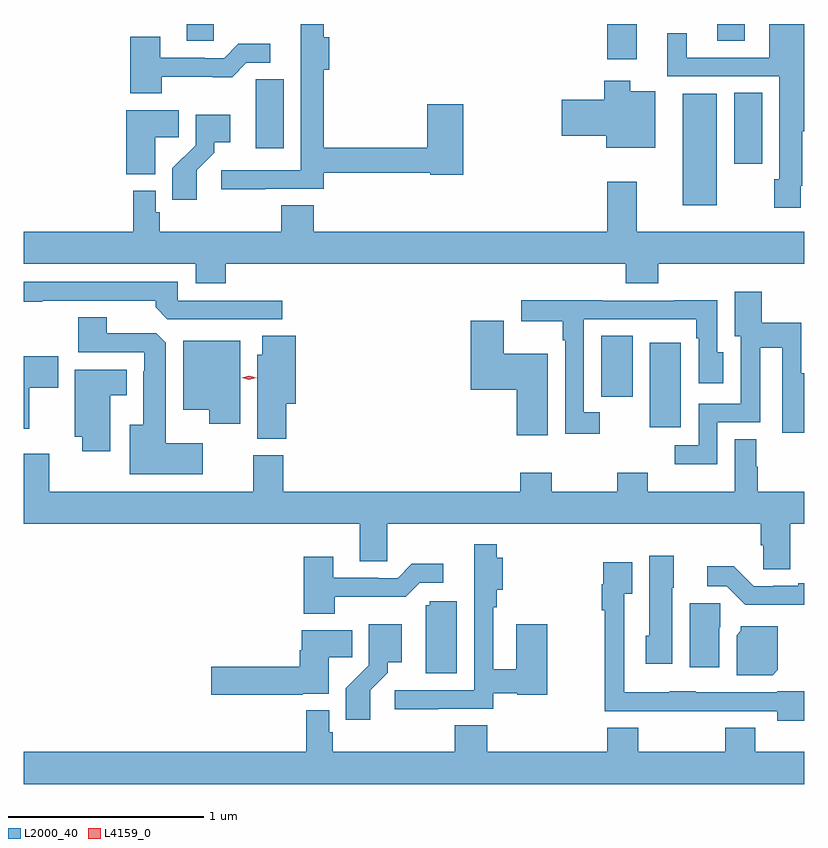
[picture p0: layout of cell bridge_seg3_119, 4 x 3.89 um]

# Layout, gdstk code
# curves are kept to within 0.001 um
import gdstk
lib = gdstk.Library(unit=1e-6, precision=1e-09)
def R(c, l, rs):  # rectangles x0, y0, x1, y1
    for r in rs: c.add(gdstk.rectangle(r[:2], r[2:], *l))
def P(c, l, *ps):  # polygons
    for p in ps: c.add(gdstk.Polygon(p, *l))
L2000_40 = (2000, 40)
L4159_0 = (4159, 0)

bridge_seg3_119 = lib.new_cell('bridge_seg3_119')
R(bridge_seg3_119, L2000_40, [(339.854,744.036,340.012,744.469), (339.605,744.192,339.766,744.503), (340.022,745.172,340.198,745.744), (340.286,745.386,340.429,745.748), (339.635,745.92,339.787,746.101), (337.481,746.014,337.62,746.101), (340.199,746.014,340.339,746.101)])
P(bridge_seg3_119, L2000_40, [(340.627,745.273),(340.634,745.273),(340.634,745.552),(340.646,745.552),(340.646,746.101),(340.466,746.101),(340.466,745.929),(340.042,745.929),(340.042,746.053),(339.944,746.053),(339.944,745.833),(340.518,745.833),(340.518,745.305),(340.492,745.305),(340.492,745.161),(340.627,745.161)],
  [(337.883,745.257),(338.183,745.257),(338.183,745.338),(338.73,745.338),(338.73,745.33),(338.897,745.33),(338.897,745.69),(338.714,745.69),(338.714,745.466),(338.183,745.466),(338.183,745.867),(338.213,745.867),(338.213,746.032),(338.183,746.032),(338.183,746.101),(338.066,746.101),(338.066,745.878),(338.067,745.878),(338.067,745.353),(337.659,745.353),(337.659,745.255),(337.883,745.255)],
  [(337.353,745.83),(337.715,745.829),(337.788,745.902),(337.909,745.902),(337.909,745.999),(337.747,745.999),(337.674,745.926),(337.574,745.926),(337.574,745.929),(337.345,745.929),(337.345,746.035),(337.193,746.035),(337.193,745.745),(337.353,745.745)],
  [(337.978,745.817),(337.836,745.817),(337.836,745.706),(337.835,745.706),(337.835,745.464),(337.978,745.464)],
  [(339.883,745.756),(339.754,745.756),(339.754,745.81),(339.62,745.81),(339.62,745.712),(339.402,745.712),(339.402,745.529),(339.632,745.529),(339.632,745.466),(339.883,745.466)],
  [(337.321,745.522),(337.442,745.522),(337.442,745.66),(337.172,745.66),(337.172,745.331),(337.321,745.331)],
  [(337.534,745.351),(337.624,745.441),(337.624,745.496),(337.705,745.496),(337.705,745.636),(337.527,745.636),(337.527,745.481),(337.408,745.362),(337.408,745.2),(337.534,745.2)],
  [(337.682,744.872),(339.731,744.872),(339.731,744.773),(339.896,744.773),(339.896,744.872),(340.646,744.872),(340.646,745.036),(339.787,745.036),(339.787,745.294),(339.635,745.294),(339.635,745.036),(338.132,745.036),(338.132,745.172),(337.967,745.172),(337.967,745.036),(337.343,745.036),(337.343,745.137),(337.323,745.137),(337.323,745.246),(337.207,745.246),(337.207,745.036),(336.646,745.036),(336.646,744.872),(337.529,744.872),(337.529,744.773),(337.682,744.773)],
  [(337.972,744.684),(337.437,744.684),(337.437,744.78),(336.646,744.78),(336.646,744.679),(336.742,744.679),(336.742,744.684),(337.322,744.684),(337.322,744.65),(337.383,744.588),(337.972,744.588)],
  [(340.2,744.06),(340.42,744.06),(340.42,744.442),(340.533,744.442),(340.533,744.006),(340.646,744.006),(340.646,744.311),(340.629,744.311),(340.629,744.571),(340.428,744.571),(340.428,744.73),(340.289,744.73),(340.289,744.501),(340.319,744.501),(340.319,744.156),(340.104,744.156),(340.104,743.943),(339.981,743.943),(339.981,743.846),(340.2,743.846)],
  [(339.598,744.111),(339.516,744.111),(339.516,744.588),(340.092,744.588),(340.092,744.491),(340.104,744.491),(340.104,744.261),(340.231,744.261),(340.231,744.42),(340.2,744.42),(340.2,744.686),(339.979,744.686),(339.979,744.684),(339.613,744.684),(339.613,744.686),(339.195,744.686),(339.195,744.578),(339.408,744.578),(339.408,744.482),(339.42,744.482),(339.42,744.003),(339.598,744.003)],
  [(337.564,743.953),(337.375,743.953),(337.375,744.467),(337.326,744.516),(337.072,744.516),(337.072,744.599),(336.925,744.599),(336.925,744.42),(337.263,744.42),(337.263,744.323),(337.259,744.323),(337.259,744.049),(337.19,744.049),(337.19,743.795),(337.564,743.795)],
  [(339.331,744.412),(339.106,744.412),(339.106,744.58),(338.936,744.58),(338.936,744.227),(339.173,744.227),(339.173,743.994),(339.331,743.994)],
  [(337.991,744.155),(338.039,744.155),(338.039,744.503),(337.868,744.503),(337.868,744.408),(337.844,744.408),(337.844,743.977),(337.991,743.977)],
  [(337.756,744.478),(337.463,744.478),(337.463,744.125),(337.598,744.125),(337.598,744.054),(337.756,744.054)],
  [(336.676,744.238),(336.823,744.238),(336.823,744.4),(336.646,744.4),(336.646,744.027),(336.676,744.027)],
  [(337.09,744.2),(337.174,744.2),(337.174,744.331),(336.908,744.331),(336.908,743.987),(336.947,743.987),(336.947,743.913),(337.09,743.913)],
  [(340.573,743.54),(340.646,743.54),(340.646,743.704),(340.408,743.704),(340.408,743.832),(340.4,743.832),(340.4,743.975),(340.289,743.975),(340.289,743.704),(339.843,743.704),(339.843,743.803),(339.688,743.803),(339.688,743.704),(339.351,743.704),(339.351,743.803),(339.191,743.803),(339.191,743.704),(337.976,743.704),(337.976,743.892),(337.823,743.892),(337.823,743.704),(336.778,743.704),(336.778,743.899),(336.646,743.899),(336.646,743.54),(338.369,743.54),(338.369,743.35),(338.508,743.35),(338.508,743.54),(340.421,743.54),(340.421,743.43),(340.434,743.43),(340.434,743.308),(340.573,743.308)],
  [(338.771,742.593),(339.051,742.593),(339.051,742.674),(339.174,742.674),(339.174,742.666),(339.328,742.666),(339.328,743.026),(339.17,743.026),(339.17,742.795),(339.051,742.795),(339.051,743.114),(339.071,743.114),(339.071,743.203),(339.101,743.203),(339.101,743.368),(339.071,743.368),(339.071,743.437),(338.954,743.437),(338.954,743.214),(338.955,743.214),(338.955,742.689),(338.547,742.689),(338.547,742.591),(338.771,742.591)],
  [(339.97,743.214),(339.976,743.214),(339.976,743.377),(339.851,743.377),(339.851,742.968),(339.833,742.968),(339.833,742.824),(339.97,742.824)],
  [(338.241,743.168),(338.605,743.168),(338.676,743.238),(338.797,743.238),(338.797,743.335),(338.635,743.335),(338.562,743.262),(338.462,743.262),(338.462,743.265),(338.233,743.265),(338.233,743.371),(338.081,743.371),(338.081,743.081),(338.241,743.081)],
  [(340.646,742.684),(340.506,742.684),(340.506,742.677),(340.089,742.677),(340.089,742.684),(339.957,742.684),(339.957,742.678),(339.723,742.678),(339.723,743.183),(339.763,743.183),(339.763,743.344),(339.615,743.344),(339.615,743.231),(339.607,743.231),(339.607,743.099),(339.622,743.099),(339.622,742.581),(339.857,742.581),(339.857,742.58),(340.089,742.58),(340.089,742.581),(340.506,742.581),(340.506,742.532),(340.646,742.532)],
  [(340.646,743.236),(340.613,743.236),(340.613,743.223),(340.486,743.223),(340.486,743.22),(340.386,743.22),(340.284,743.323),(340.149,743.323),(340.149,743.22),(340.248,743.22),(340.342,743.126),(340.646,743.126)],
  [(338.866,743.145),(338.727,743.145),(338.727,743.124),(338.705,743.124),(338.705,742.776),(338.866,742.776)],
  [(340.21,743.01),(340.214,743.01),(340.214,743.133),(340.058,743.133),(340.058,742.806),(340.21,742.806)],
  [(338.422,742.687),(338.512,742.777),(338.512,742.832),(338.584,742.832),(338.584,743.026),(338.415,743.026),(338.415,742.817),(338.296,742.698),(338.296,742.536),(338.422,742.536)],
  [(340.51,742.792),(340.51,743.017),(340.32,743.017),(340.32,742.992),(340.298,742.97),(340.298,742.766),(340.484,742.766)],
  [(338.076,742.67),(338.209,742.67),(338.209,742.858),(338.33,742.858),(338.33,742.996),(338.072,742.996),(338.072,742.892),(338.06,742.892),(338.06,742.808),(337.608,742.808),(337.608,742.666),(338.076,742.666)],
  [(340.646,742.372),(340.395,742.372),(340.395,742.496),(340.24,742.496),(340.24,742.372),(339.795,742.372),(339.795,742.496),(339.635,742.496),(339.635,742.372),(339.02,742.372),(339.02,742.508),(338.855,742.508),(338.855,742.372),(338.231,742.372),(338.231,742.473),(338.211,742.473),(338.211,742.585),(338.095,742.585),(338.095,742.372),(336.646,742.372),(336.646,742.208),(340.646,742.208)])
P(bridge_seg3_119, L4159_0, [(337.801,744.279),(337.764,744.289),(337.763,744.289),(337.764,744.29),(337.801,744.299),(337.838,744.29),(337.839,744.29),(337.838,744.289)])

lib.write_gds('bridge_seg3_119.gds')
